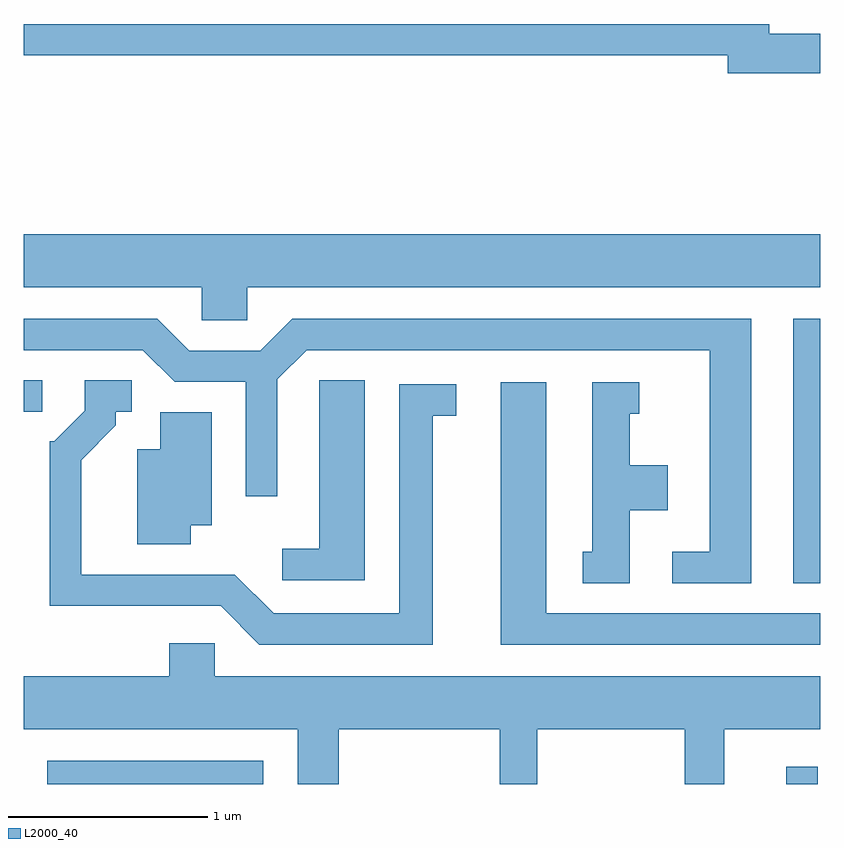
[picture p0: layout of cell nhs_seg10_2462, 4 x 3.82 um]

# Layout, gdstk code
import gdstk
lib = gdstk.Library(unit=1e-6, precision=1e-09)
def R(c, l, rs):  # rectangles x0, y0, x1, y1
    for r in rs: c.add(gdstk.rectangle(r[:2], r[2:], *l))
def P(c, l, *ps):  # polygons
    for p in ps: c.add(gdstk.Polygon(p, *l))
L2000_40 = (2000, 40)

nhs_seg10_2462 = lib.new_cell('nhs_seg10_2462')
R(nhs_seg10_2462, L2000_40, [(257.728,2122.522,258.814,2122.639), (261.441,2122.522,261.599,2122.608), (261.476,2123.531,261.611,2124.859), (257.611,2124.391,257.703,2124.549)])
P(nhs_seg10_2462, L2000_40, [(261.611,2126.289),(261.354,2126.289),(261.354,2126.339),(257.611,2126.339),(257.611,2126.181),(261.146,2126.181),(261.146,2126.091),(261.611,2126.091)],
  [(258.734,2125.016),(261.611,2125.016),(261.611,2125.284),(257.611,2125.284),(257.611,2125.016),(258.506,2125.016),(258.506,2124.851),(258.734,2124.851)],
  [(261.264,2124.859),(258.959,2124.859),(258.799,2124.699),(258.442,2124.699),(258.282,2124.859),(257.611,2124.859),(257.611,2124.701),(258.209,2124.701),(258.368,2124.541),(258.726,2124.541),(258.726,2123.968),(258.884,2123.968),(258.884,2124.554),(259.032,2124.701),(261.056,2124.701),(261.056,2123.689),(260.868,2123.689),(260.868,2123.531),(261.264,2123.531)],
  [(259.664,2124.371),(259.783,2124.371),(259.783,2124.529),(259.496,2124.529),(259.496,2123.379),(258.867,2123.379),(258.671,2123.574),(257.899,2123.574),(257.899,2124.149),(258.074,2124.324),(258.074,2124.391),(258.153,2124.391),(258.153,2124.549),(257.916,2124.549),(257.916,2124.397),(257.764,2124.244),(257.741,2124.244),(257.741,2123.416),(258.599,2123.416),(258.794,2123.221),(259.664,2123.221)],
  [(259.324,2124.549),(259.096,2124.549),(259.096,2123.704),(258.908,2123.704),(258.908,2123.546),(259.324,2123.546)],
  [(260.654,2123.896),(260.844,2123.896),(260.844,2124.124),(260.654,2124.124),(260.654,2124.381),(260.703,2124.381),(260.703,2124.539),(260.466,2124.539),(260.466,2123.689),(260.418,2123.689),(260.418,2123.531),(260.654,2123.531)],
  [(261.611,2123.379),(260.234,2123.379),(260.234,2124.539),(260.006,2124.539),(260.006,2123.221),(261.611,2123.221)],
  [(258.449,2123.821),(258.554,2123.821),(258.554,2124.389),(258.296,2124.389),(258.296,2124.204),(258.181,2124.204),(258.181,2123.726),(258.449,2123.726)],
  [(259.194,2122.796),(260.001,2122.796),(260.001,2122.522),(260.189,2122.522),(260.189,2122.796),(260.931,2122.796),(260.931,2122.522),(261.129,2122.522),(261.129,2122.796),(261.611,2122.796),(261.611,2123.064),(258.569,2123.064),(258.569,2123.229),(258.341,2123.229),(258.341,2123.064),(257.611,2123.064),(257.611,2122.796),(258.986,2122.796),(258.986,2122.522),(259.194,2122.522)])

lib.write_gds('nhs_seg10_2462.gds')
